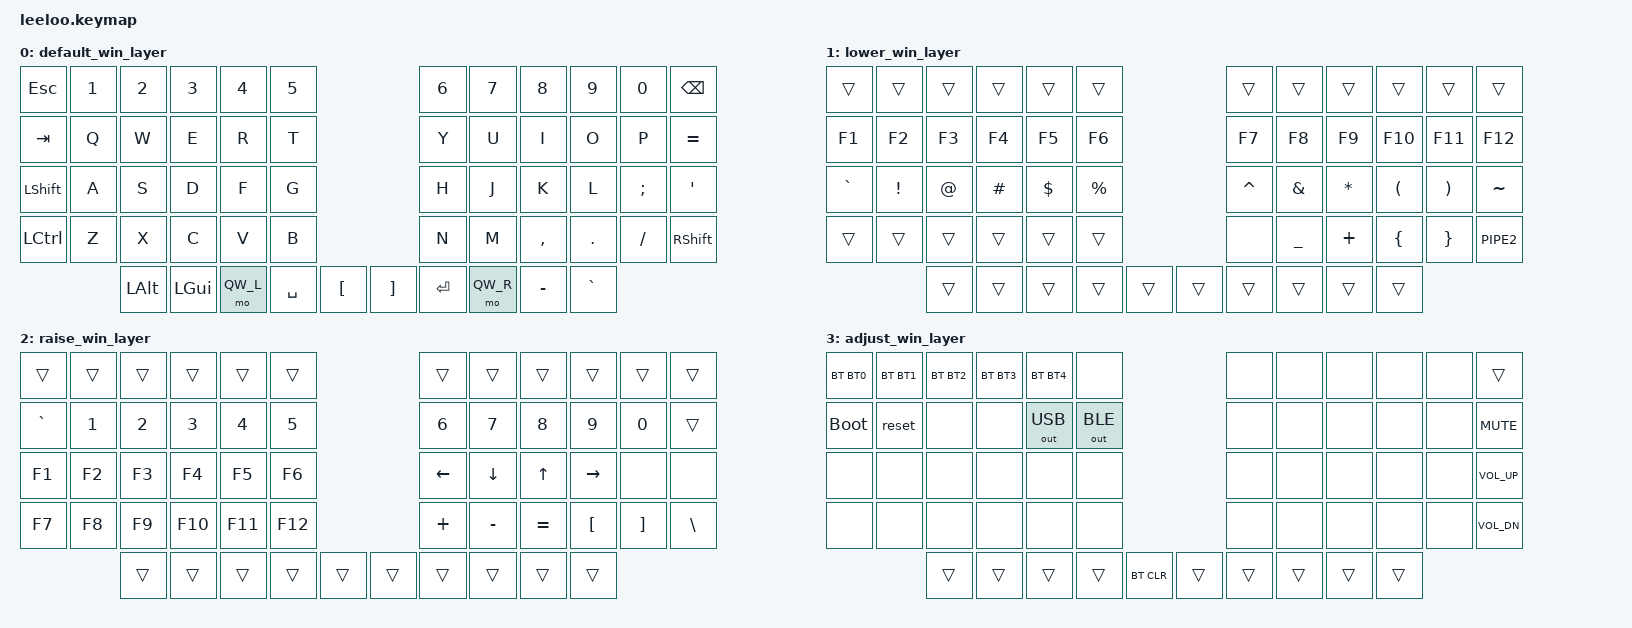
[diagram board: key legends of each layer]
/*
 * Copyright (c) 2020 The ZMK Contributors
 *
 * SPDX-License-Identifier: MIT
 */
#include <behaviors.dtsi>
#include <dt-bindings/zmk/outputs.h>
#include <dt-bindings/zmk/keys.h>
#include <dt-bindings/zmk/bt.h>


// Layers
#define QW_M    0       // Main
#define QW_L    1       // Lower
#define QW_R    2       // Raise
#define QW_A    3       // Adjust
#define QC_F    4       // Firmware


// Short versions
#define BT0     BT_SEL 0
#define BT1     BT_SEL 1
#define BT2     BT_SEL 2
#define BT3     BT_SEL 3
#define BT4     BT_SEL 4


/ {
    conditional_layers {
        compatible = "zmk,conditional-layers";
        adjust_win_layer {
            if-layers = <1 2>;
            then-layer = <3>;
        };
    };

    keymap {
        compatible = "zmk,keymap";

        default_win_layer {
            bindings = <
&kp ESC    &kp N1     &kp N2     &kp N3     &kp N4     &kp N5                           &kp N6     &kp N7     &kp N8     &kp N9     &kp N0     &kp BSPC
&kp TAB    &kp Q      &kp W      &kp E      &kp R      &kp T                            &kp Y      &kp U      &kp I      &kp O      &kp P      &kp EQUAL
&kp LSHFT  &kp A      &kp S      &kp D      &kp F      &kp G                            &kp H      &kp J      &kp K      &kp L      &kp SEMI   &kp SQT
&kp LCTRL  &kp Z      &kp X      &kp C      &kp V      &kp B                            &kp N      &kp M      &kp COMMA  &kp DOT    &kp FSLH   &kp RSHFT
                      &kp LALT   &kp LGUI   &mo QW_L   &kp SPACE  &kp LBKT    &kp RBKT  &kp RET    &mo QW_R   &kp MINUS  &kp GRAV
            >;

            // sensor-bindings = <&inc_dec_kp C_VOL_DN C_VOL_UP>;
        };

        lower_win_layer {
            bindings = <
&trans     &trans     &trans     &trans     &trans     &trans                           &trans     &trans     &trans     &trans     &trans     &trans
&kp F1     &kp F2     &kp F3     &kp F4     &kp F5     &kp F6                           &kp F7     &kp F8     &kp F9     &kp F10    &kp F11    &kp F12
&kp GRAVE  &kp EXCL   &kp AT     &kp HASH   &kp DLLR   &kp PRCNT                        &kp CARET  &kp AMPS   &kp ASTRK  &kp LPAR   &kp RPAR   &kp TILDE
&trans     &trans     &trans     &trans     &trans     &trans                           &none      &kp UNDER  &kp PLUS   &kp LBRC   &kp RBRC   &kp PIPE2
                      &trans     &trans     &trans     &trans     &trans      &trans    &trans     &trans     &trans     &trans
            >;

            // sensor-bindings = <&inc_dec_kp C_VOL_DN C_VOL_UP>;
        };

        raise_win_layer {
            bindings = <
&trans     &trans     &trans     &trans     &trans     &trans                           &trans     &trans     &trans     &trans     &trans     &trans
&kp GRAV   &kp N1     &kp N2     &kp N3     &kp N4     &kp N5                           &kp N6     &kp N7     &kp N8     &kp N9     &kp N0     &trans
&kp F1     &kp F2     &kp F3     &kp F4     &kp F5     &kp F6                           &kp LEFT   &kp DOWN   &kp UP     &kp RIGHT  &none      &none
&kp F7     &kp F8     &kp F9     &kp F10    &kp F11    &kp F12                          &kp PLUS   &kp MINUS  &kp EQUAL  &kp LBKT   &kp RBKT   &kp BSLH
                      &trans     &trans     &trans     &trans     &trans      &trans    &trans     &trans     &trans     &trans
            >;

            // sensor-bindings = <&inc_dec_kp C_VOL_UP C_VOL_DN>;
        };

        adjust_win_layer {
            bindings = <
&bt BT0     &bt BT1   &bt BT2    &bt BT3    &bt BT4      &none                          &none      &none      &none      &none      &none      &trans
&bootloader &reset    &none      &none      &out OUT_USB &out OUT_BLE                   &none      &none      &none      &none      &none      &kp C_MUTE
&none       &none     &none      &none      &none        &none                          &none      &none      &none      &none      &none      &kp C_VOL_UP
&none       &none     &none      &none      &none        &none                          &none      &none      &none      &none      &none      &kp C_VOL_DN
                      &trans     &trans     &trans       &trans   &bt BT_CLR  &trans    &trans     &trans     &trans     &trans
            >;

            // sensor-bindings = <&inc_dec_kp C_VOL_DN C_VOL_UP>;
        };

    };
};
